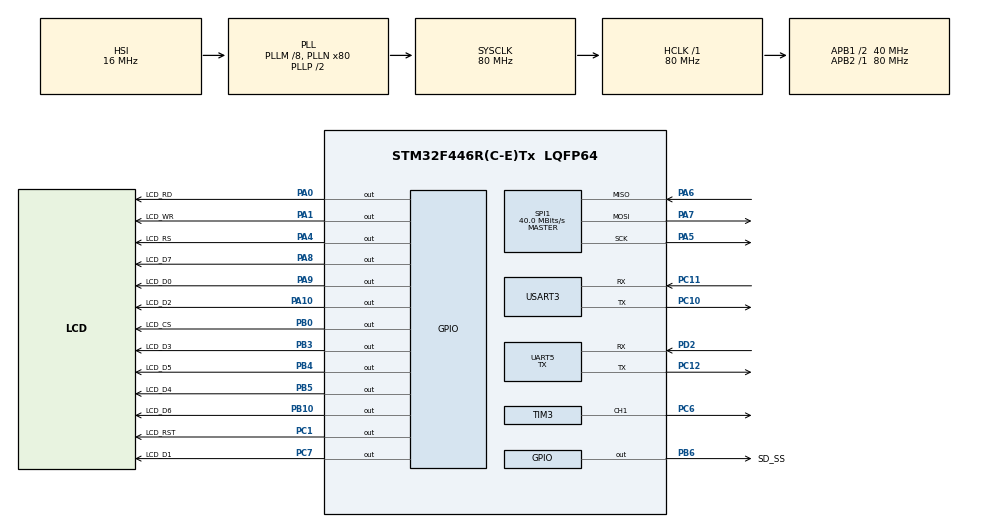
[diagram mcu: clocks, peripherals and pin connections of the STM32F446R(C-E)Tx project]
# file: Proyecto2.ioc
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FATFS._MAX_SS=4096
FATFS._USE_LFN=1
Mcu.Family=STM32F4
Mcu.Name=STM32F446R(C-E)Tx
Mcu.Package=LQFP64
NVIC.PriorityGroup=NVIC_PRIORITYGROUP_4
NVIC.USART3_IRQn=true\:0\:0\:false\:false\:true\:true\:true\:true
PA0-WKUP.GPIO_Label=LCD_RD
PA0-WKUP.GPIO_Speed=GPIO_SPEED_FREQ_HIGH
PA0-WKUP.Signal=GPIO_Output
PA1.GPIO_Label=LCD_WR
PA1.GPIO_Speed=GPIO_SPEED_FREQ_HIGH
PA1.Signal=GPIO_Output
PA10.GPIO_Label=LCD_D2
PA10.GPIO_Speed=GPIO_SPEED_FREQ_HIGH
PA10.Signal=GPIO_Output
PA13.Mode=Serial_Wire
PA13.Signal=SYS_JTMS-SWDIO
PA14.Mode=Serial_Wire
PA14.Signal=SYS_JTCK-SWCLK
PA4.GPIO_Label=LCD_RS
PA4.GPIO_Speed=GPIO_SPEED_FREQ_HIGH
PA4.Signal=GPIO_Output
PA5.Mode=Full_Duplex_Master
PA5.Signal=SPI1_SCK
PA6.Mode=Full_Duplex_Master
PA6.Signal=SPI1_MISO
PA7.Mode=Full_Duplex_Master
PA7.Signal=SPI1_MOSI
PA8.GPIO_Label=LCD_D7
PA8.GPIO_Speed=GPIO_SPEED_FREQ_HIGH
PA8.Signal=GPIO_Output
PA9.GPIO_Label=LCD_D0
PA9.GPIO_Speed=GPIO_SPEED_FREQ_HIGH
PA9.Signal=GPIO_Output
PB0.GPIO_Label=LCD_CS
PB0.GPIO_Speed=GPIO_SPEED_FREQ_HIGH
PB0.Signal=GPIO_Output
PB10.GPIO_Label=LCD_D6
PB10.GPIO_Speed=GPIO_SPEED_FREQ_HIGH
PB10.Signal=GPIO_Output
PB3.GPIO_Label=LCD_D3
PB3.GPIO_Speed=GPIO_SPEED_FREQ_HIGH
PB3.Signal=GPIO_Output
PB4.GPIO_Label=LCD_D5
PB4.GPIO_Speed=GPIO_SPEED_FREQ_HIGH
PB4.Signal=GPIO_Output
PB5.GPIO_Label=LCD_D4
PB5.GPIO_Speed=GPIO_SPEED_FREQ_HIGH
PB5.Signal=GPIO_Output
PB6.GPIO_Label=SD_SS
PB6.GPIO_Speed=GPIO_SPEED_FREQ_HIGH
PB6.PinState=GPIO_PIN_SET
PB6.Signal=GPIO_Output
PC1.GPIO_Label=LCD_RST
PC1.GPIO_Speed=GPIO_SPEED_FREQ_HIGH
PC1.Signal=GPIO_Output
PC10.Mode=Asynchronous
PC10.Signal=USART3_TX
PC11.Mode=Asynchronous
PC11.Signal=USART3_RX
PC12.Mode=Asynchronous
PC12.Signal=UART5_TX
PC6.Signal=S_TIM3_CH1
PC7.GPIO_Label=LCD_D1
PC7.GPIO_Speed=GPIO_SPEED_FREQ_HIGH
PC7.Signal=GPIO_Output
PD2.Mode=Asynchronous
PD2.Signal=UART5_RX
PH0-OSC_IN.Mode=HSE-External-Oscillator
PH0-OSC_IN.Signal=RCC_OSC_IN
PH1-OSC_OUT.Mode=HSE-External-Oscillator
PH1-OSC_OUT.Signal=RCC_OSC_OUT
ProjectManager.HeapSize=0x200
ProjectManager.StackSize=0x400
ProjectManager.TargetToolchain=STM32CubeIDE
RCC.AHBFreq_Value=80000000
RCC.APB1CLKDivider=RCC_HCLK_DIV2
RCC.APB1Freq_Value=40000000
RCC.APB1TimFreq_Value=80000000
RCC.APB2Freq_Value=80000000
RCC.APB2TimFreq_Value=80000000
RCC.CortexFreq_Value=80000000
RCC.HCLKFreq_Value=80000000
RCC.PLLM=8
RCC.PLLN=80
RCC.SYSCLKFreq_VALUE=80000000
RCC.SYSCLKSource=RCC_SYSCLKSOURCE_PLLCLK
RCC.USBFreq_Value=80000000
RCC.VCOOutputFreq_Value=160000000
SH.S_TIM3_CH1.0=TIM3_CH1,PWM Generation1 CH1
SPI1.CalculateBaudRate=40.0 MBits/s
SPI1.Direction=SPI_DIRECTION_2LINES
SPI1.Mode=SPI_MODE_MASTER
SPI1.VirtualType=VM_MASTER
TIM3.AutoReloadPreload=TIM_AUTORELOAD_PRELOAD_ENABLE
TIM3.Channel-PWM\ Generation1\ CH1=TIM_CHANNEL_1
TIM3.Prescaler=79
UART5.Mode=MODE_TX
UART5.VirtualMode=Asynchronous
USART3.VirtualMode=VM_ASYNC
VP_FATFS_VS_Generic.Mode=User_defined
VP_TIM3_VS_ClockSourceINT.Mode=Internal
board=custom

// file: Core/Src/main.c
/* USER CODE BEGIN Header */
/**
 ******************************************************************************
 * @file           : main.c
 * @brief          : Main program body
 ******************************************************************************
 * @attention
 *
 * Copyright (c) 2024 STMicroelectronics.
 * All rights reserved.
 *
 * This software is licensed under terms that can be found in the LICENSE file
 * in the root directory of this software component.
 * If no LICENSE file comes with this software, it is provided AS-IS.
 *
 ******************************************************************************
 */
/* USER CODE END Header */
#include "main.h"
#include "fatfs.h"

/* USER CODE BEGIN Includes */
#include "ili9341.h"
#include "gfx.h"
#include "screens.h"
#include "controller.h"
#include "padtest.h"
#include "sound.h"
#include "game.h"
#include "storage.h"
#include "sprites.h"
/* USER CODE END Includes */

/* USER CODE BEGIN PTD */
typedef enum { ST_MENU, ST_PLAY, ST_WIN, ST_OVER, ST_PADTEST, ST_GALLERY, ST_RECORDS, ST_CREDITS } GameState;
/* USER CODE END PTD */

/* USER CODE BEGIN PD */
#define PADTEST_AL_INICIO  0     /* 1 = arranca en la pantalla de prueba del mando */
/* USER CODE END PD */

SPI_HandleTypeDef hspi1;

TIM_HandleTypeDef htim3;

UART_HandleTypeDef huart5;
UART_HandleTypeDef huart3;

void SystemClock_Config(void);
static void MX_GPIO_Init(void);
static void MX_SPI1_Init(void);
static void MX_USART3_UART_Init(void);
static void MX_TIM3_Init(void);
static void MX_UART5_Init(void);

/* USER CODE BEGIN 0 */
static uint8_t btn_poll(void)
{
    static uint8_t down = 0;
    static uint32_t t0 = 0;
    uint8_t pressed = (HAL_GPIO_ReadPin(GPIOC, GPIO_PIN_13) == GPIO_PIN_RESET);

    if (pressed && !down) { down = 1; t0 = HAL_GetTick(); }
    else if (!pressed && down) {
        down = 0;
        uint32_t dt = HAL_GetTick() - t0;
        if (dt < 30) return 0;                 // antirrebote
        return (dt >= 500) ? 2 : 1;
    }
    return 0;
}

/* Muestra el menu con su musica */
static void go_menu(uint8_t sel, uint8_t level)
{
    screens_menu_full(sel, level);
    sound_music(MUS_TITLE);
}
/* USER CODE END 0 */

int main(void)
{

  /* MCU Configuration--------------------------------------------------------*/

  /* Reset of all peripherals, Initializes the Flash interface and the Systick. */
  HAL_Init();

  /* Configure the system clock */
  SystemClock_Config();

  /* Initialize all configured peripherals */
  MX_GPIO_Init();
  MX_SPI1_Init();
  MX_USART3_UART_Init();
  MX_TIM3_Init();
  MX_FATFS_Init();
  MX_UART5_Init();
  /* USER CODE BEGIN 2 */
  LCD_Init();
  pad_init();                    // empieza a recibir el mando por USART3
  sound_init();                  // buzzer pasivo en PC6 (TIM3_CH1)

  GameState state = ST_MENU;
  uint8_t  sel = 0;              // opcion del menu
  uint8_t  level = 1;            // nivel elegido
  uint8_t  pend = 0;             // evento pendiente de B1 (1 corto, 2 largo)
  uint8_t  pend_btn = 0;         // botones del mando presionados y sin atender
  uint16_t best[NUM_LEVELS] = {0};   // records (en RAM; luego se guardan en la SD)
  uint32_t last_status = 0;
  uint32_t last_draw = 0;
  uint32_t last_frame = 0;

  GameStats stats = {0};             // partidas, victorias, derrotas (STATS.TXT)
  static char creditos[480];         // texto de CREDITOS.TXT
  uint8_t creditos_ok = 0;

  /* Carga de la SD: graficos, portada, fondo, niveles, records y estadisticas */
  LCD_Clear(0x0000);
  LCD_Print("CARGANDO SD...", 104, 112, 1, 0xFFFF, 0x0000);
  storage_init();
  if (!storage_load_sprites()) {     // graficos: SD -> RAM
    sprites_from_flash();            // respaldo (si SPRITES_EN_FLASH = 1)
#if !SPRITES_EN_FLASH
    LCD_Print("INSERTA LA MEMORIA SD", 76, 140, 1, 0xF800, 0x0000);
    LCD_Print("(LOS GRAFICOS ESTAN AHI)", 64, 156, 1, 0xF800, 0x0000);
    HAL_Delay(3000);
#endif
  }
  storage_load_records(best, NUM_LEVELS);
  storage_load_stats(&stats);
  creditos_ok = (uint8_t)storage_load_text("CREDITOS.TXT", creditos, sizeof(creditos));

  /* Portada (imagen de 320x240 leida de la SD): 3 s o hasta presionar un boton */
  if (storage_show_image("PORTADA.BIN")) {
    uint32_t t0 = HAL_GetTick();
    while (HAL_GetTick() - t0 < 3000) {
      pad_poll();
      if (btn_poll() || pad_take_presses()) break;
    }
  }

#if PADTEST_AL_INICIO
  state = ST_PADTEST;
  padtest_full();
#else
  go_menu(sel, level);
#endif
  /* USER CODE END 2 */

  /* Infinite loop */
	while (1) {

    /* USER CODE BEGIN 3 */
		sound_update();                                 // avanza la musica / efectos (no bloquea)

		uint8_t ev = btn_poll();                        // boton B1 de la Nucleo
		if (ev) pend = ev;

		pad_poll();                                     // procesa lo que llego del mando
		pend_btn |= pad_take_presses();                 // se acumulan hasta que se atienden
		const PadState *pad = pad_get();

		/* Estado del juego al mando cada 100 ms (fase y poder disponible) */
		if (HAL_GetTick() - last_status >= 100) {
		    last_status = HAL_GetTick();
		    uint8_t st = 0, fl = 0;
		    if (state == ST_PLAY)         { st = game_status_state(); fl = game_status_flags(); }
		    else if (state == ST_WIN)     st = 4;
		    else if (state == ST_OVER)    st = 5;
		    else if (state == ST_PADTEST) fl = (pad->btn & PAD_BTN_POWER) ? 1 : 0;
		    pad_send_status(st, fl);
		}

		switch (state) {

		/* ---------------- Menu ---------------- */
		case ST_MENU: {
		    int8_t nav = pad_nav_y();                   // joystick / cruceta arriba-abajo
		    uint8_t old = sel;
		    if (nav != 0)       sel = (sel + MENU_ITEMS + nav) % MENU_ITEMS;
		    else if (pend == 1) sel = (sel + 1) % MENU_ITEMS;   // B1 corto: siguiente opcion
		    if (sel != old) { screens_menu_select(old, sel); sound_sfx(SFX_MOVE); }

		    if (pend_btn & PAD_BTN_MENU) {              // clic / Start: prueba del mando
		        sound_music(MUS_NONE);
		        padtest_full();
		        state = ST_PADTEST;
		    } else if (pend_btn & PAD_BTN_POWER) {      // PODER: galeria de personajes
		        sound_sfx(SFX_OK);
		        screens_gallery();
		        state = ST_GALLERY;
		    } else if (pend == 2 || (pend_btn & PAD_BTN_FIRE)) {   // B1 largo o DISPARO: aceptar
		        sound_sfx(SFX_OK);
		        if (sel == 0) {                         // JUGAR
		            game_start(level);
		            sound_music(MUS_LEVEL);
		            last_frame = HAL_GetTick();
		            state = ST_PLAY;
		        } else if (sel == 1) {                  // cambiar de NIVEL
		            level = (level % NUM_LEVELS) + 1;
		            screens_menu_level(level, sel);
		        } else if (sel == 2) {                  // RECORDS
		            screens_records(best, stats.partidas, stats.victorias, stats.derrotas);
		            state = ST_RECORDS;
		        } else {                                // CREDITOS
		            screens_credits(creditos_ok ? creditos : NULL);
		            state = ST_CREDITS;
		        }
		    }
		    pend = 0; pend_btn = 0;
		    break;
		}

		/* ---------------- Jugando ---------------- */
		case ST_PLAY:
		    if (HAL_GetTick() - last_frame >= GAME_FRAME_MS) {   // ~30 cuadros por segundo
		        last_frame = HAL_GetTick();
		        GameInput gi = {
		            pad->jx, pad->jy, pad->connected, pend,
		            (uint8_t)((pend_btn & PAD_BTN_FIRE)  != 0),
		            (uint8_t)((pend_btn & PAD_BTN_POWER) != 0),
		            (uint8_t)((pend_btn & PAD_BTN_MENU)  != 0)
		        };
		        pend = 0; pend_btn = 0;

		        GameResult r = game_update(&gi);
		        if (r == GAME_WIN) {
		            uint16_t sc = game_score();
		            uint8_t rec = (sc > best[level - 1]);
		            if (rec) {
		                best[level - 1] = sc;
		                storage_save_records(best, NUM_LEVELS);   // se guarda en la SD
		            }
		            screens_win(game_stars(), sc, rec);
		            sound_music(MUS_WIN);
		            stats.partidas++; stats.victorias++; stats.puntos += sc;
		            storage_save_stats(&stats);             // STATS.TXT en la SD
		            state = ST_WIN;
		        } else if (r == GAME_LOSE) {
		            screens_gameover(game_score());
		            sound_music(MUS_LOSE);
		            stats.partidas++; stats.derrotas++; stats.puntos += game_score();
		            storage_save_stats(&stats);
		            state = ST_OVER;
		        } else if (r == GAME_QUIT) {
		            go_menu(sel, level);
		            state = ST_MENU;
		        }
		    }
		    break;

		/* ---------------- Fin de nivel ---------------- */
		case ST_WIN:
		case ST_OVER:
		    if (pend || (pend_btn & (PAD_BTN_FIRE | PAD_BTN_MENU))) {
		        if (state == ST_WIN) level = (level % NUM_LEVELS) + 1;   // siguiente nivel
		        go_menu(sel, level);
		        state = ST_MENU;
		    }
		    pend = 0; pend_btn = 0;
		    break;

		/* ---------------- Records, creditos y galeria ---------------- */
		case ST_RECORDS:
		case ST_CREDITS:
		case ST_GALLERY:
		    if (pend || (pend_btn & (PAD_BTN_MENU | PAD_BTN_FIRE))) {
		        go_menu(sel, level);
		        state = ST_MENU;
		    }
		    pend = 0; pend_btn = 0;
		    break;

		/* ---------------- Prueba del mando ---------------- */
		case ST_PADTEST:
		    /* prueba del sonido desde el mando: cada boton toca un efecto */
		    if (pend_btn & PAD_BTN_FIRE)  sound_sfx(SFX_LAUNCH);
		    if (pend_btn & PAD_BTN_POWER) sound_sfx(SFX_BOOM);
		    if (pend == 1)                sound_sfx(SFX_PIG);

		    if (pend == 2 || (pend_btn & PAD_BTN_MENU)) {   // B1 largo o clic: volver al menu
		        go_menu(sel, level);
		        state = ST_MENU;
		    } else if (HAL_GetTick() - last_draw >= 40) {   // ~25 refrescos por segundo
		        last_draw = HAL_GetTick();
		        padtest_update(pad);
		    }
		    pend = 0; pend_btn = 0;
		    break;
		}
	}                                                   // <- cierra el while(1)
  /* USER CODE END 3 */
}

void SystemClock_Config(void)
{
  RCC_OscInitTypeDef RCC_OscInitStruct = {0};
  RCC_ClkInitTypeDef RCC_ClkInitStruct = {0};

  /** Configure the main internal regulator output voltage
  */
  __HAL_RCC_PWR_CLK_ENABLE();
  __HAL_PWR_VOLTAGESCALING_CONFIG(PWR_REGULATOR_VOLTAGE_SCALE3);

  /** Initializes the RCC Oscillators according to the specified parameters
  * in the RCC_OscInitTypeDef structure.
  */
  RCC_OscInitStruct.OscillatorType = RCC_OSCILLATORTYPE_HSI;
  RCC_OscInitStruct.HSIState = RCC_HSI_ON;
  RCC_OscInitStruct.HSICalibrationValue = RCC_HSICALIBRATION_DEFAULT;
  RCC_OscInitStruct.PLL.PLLState = RCC_PLL_ON;
  RCC_OscInitStruct.PLL.PLLSource = RCC_PLLSOURCE_HSI;
  RCC_OscInitStruct.PLL.PLLM = 8;
  RCC_OscInitStruct.PLL.PLLN = 80;
  RCC_OscInitStruct.PLL.PLLP = RCC_PLLP_DIV2;
  RCC_OscInitStruct.PLL.PLLQ = 2;
  RCC_OscInitStruct.PLL.PLLR = 2;
  if (HAL_RCC_OscConfig(&RCC_OscInitStruct) != HAL_OK)
  {
    Error_Handler();
  }

  /** Initializes the CPU, AHB and APB buses clocks
  */
  RCC_ClkInitStruct.ClockType = RCC_CLOCKTYPE_HCLK|RCC_CLOCKTYPE_SYSCLK
                              |RCC_CLOCKTYPE_PCLK1|RCC_CLOCKTYPE_PCLK2;
  RCC_ClkInitStruct.SYSCLKSource = RCC_SYSCLKSOURCE_PLLCLK;
  RCC_ClkInitStruct.AHBCLKDivider = RCC_SYSCLK_DIV1;
  RCC_ClkInitStruct.APB1CLKDivider = RCC_HCLK_DIV2;
  RCC_ClkInitStruct.APB2CLKDivider = RCC_HCLK_DIV1;

  if (HAL_RCC_ClockConfig(&RCC_ClkInitStruct, FLASH_LATENCY_2) != HAL_OK)
  {
    Error_Handler();
  }
}

static void MX_SPI1_Init(void)
{

  /* SPI1 parameter configuration*/
  hspi1.Instance = SPI1;
  hspi1.Init.Mode = SPI_MODE_MASTER;
  hspi1.Init.Direction = SPI_DIRECTION_2LINES;
  hspi1.Init.DataSize = SPI_DATASIZE_8BIT;
  hspi1.Init.CLKPolarity = SPI_POLARITY_LOW;
  hspi1.Init.CLKPhase = SPI_PHASE_1EDGE;
  hspi1.Init.NSS = SPI_NSS_SOFT;
  hspi1.Init.BaudRatePrescaler = SPI_BAUDRATEPRESCALER_2;
  hspi1.Init.FirstBit = SPI_FIRSTBIT_MSB;
  hspi1.Init.TIMode = SPI_TIMODE_DISABLE;
  hspi1.Init.CRCCalculation = SPI_CRCCALCULATION_DISABLE;
  hspi1.Init.CRCPolynomial = 10;
  if (HAL_SPI_Init(&hspi1) != HAL_OK)
  {
    Error_Handler();
  }

}

static void MX_TIM3_Init(void)
{

  TIM_ClockConfigTypeDef sClockSourceConfig = {0};
  TIM_MasterConfigTypeDef sMasterConfig = {0};
  TIM_OC_InitTypeDef sConfigOC = {0};

  htim3.Instance = TIM3;
  htim3.Init.Prescaler = 79;
  htim3.Init.CounterMode = TIM_COUNTERMODE_UP;
  htim3.Init.Period = 65535;
  htim3.Init.ClockDivision = TIM_CLOCKDIVISION_DIV1;
  htim3.Init.AutoReloadPreload = TIM_AUTORELOAD_PRELOAD_ENABLE;
  if (HAL_TIM_Base_Init(&htim3) != HAL_OK)
  {
    Error_Handler();
  }
  sClockSourceConfig.ClockSource = TIM_CLOCKSOURCE_INTERNAL;
  if (HAL_TIM_ConfigClockSource(&htim3, &sClockSourceConfig) != HAL_OK)
  {
    Error_Handler();
  }
  if (HAL_TIM_PWM_Init(&htim3) != HAL_OK)
  {
    Error_Handler();
  }
  sMasterConfig.MasterOutputTrigger = TIM_TRGO_RESET;
  sMasterConfig.MasterSlaveMode = TIM_MASTERSLAVEMODE_DISABLE;
  if (HAL_TIMEx_MasterConfigSynchronization(&htim3, &sMasterConfig) != HAL_OK)
  {
    Error_Handler();
  }
  sConfigOC.OCMode = TIM_OCMODE_PWM1;
  sConfigOC.Pulse = 0;
  sConfigOC.OCPolarity = TIM_OCPOLARITY_HIGH;
  sConfigOC.OCFastMode = TIM_OCFAST_DISABLE;
  if (HAL_TIM_PWM_ConfigChannel(&htim3, &sConfigOC, TIM_CHANNEL_1) != HAL_OK)
  {
    Error_Handler();
  }
  HAL_TIM_MspPostInit(&htim3);

}

static void MX_UART5_Init(void)
{

  huart5.Instance = UART5;
  huart5.Init.BaudRate = 115200;
  huart5.Init.WordLength = UART_WORDLENGTH_8B;
  huart5.Init.StopBits = UART_STOPBITS_1;
  huart5.Init.Parity = UART_PARITY_NONE;
  huart5.Init.Mode = UART_MODE_TX;
  huart5.Init.HwFlowCtl = UART_HWCONTROL_NONE;
  huart5.Init.OverSampling = UART_OVERSAMPLING_16;
  if (HAL_UART_Init(&huart5) != HAL_OK)
  {
    Error_Handler();
  }

}

static void MX_USART3_UART_Init(void)
{

  huart3.Instance = USART3;
  huart3.Init.BaudRate = 115200;
  huart3.Init.WordLength = UART_WORDLENGTH_8B;
  huart3.Init.StopBits = UART_STOPBITS_1;
  huart3.Init.Parity = UART_PARITY_NONE;
  huart3.Init.Mode = UART_MODE_TX_RX;
  huart3.Init.HwFlowCtl = UART_HWCONTROL_NONE;
  huart3.Init.OverSampling = UART_OVERSAMPLING_16;
  if (HAL_UART_Init(&huart3) != HAL_OK)
  {
    Error_Handler();
  }

}

static void MX_GPIO_Init(void)
{
  GPIO_InitTypeDef GPIO_InitStruct = {0};

  /* GPIO Ports Clock Enable */
  __HAL_RCC_GPIOH_CLK_ENABLE();
  __HAL_RCC_GPIOC_CLK_ENABLE();
  __HAL_RCC_GPIOA_CLK_ENABLE();
  __HAL_RCC_GPIOB_CLK_ENABLE();
  __HAL_RCC_GPIOD_CLK_ENABLE();

  /*Configure GPIO pin Output Level */
  HAL_GPIO_WritePin(GPIOC, LCD_RST_Pin|LCD_D1_Pin, GPIO_PIN_RESET);

  /*Configure GPIO pin Output Level */
  HAL_GPIO_WritePin(GPIOA, LCD_RD_Pin|LCD_WR_Pin|LCD_RS_Pin|LCD_D7_Pin
                          |LCD_D0_Pin|LCD_D2_Pin, GPIO_PIN_RESET);

  /*Configure GPIO pin Output Level */
  HAL_GPIO_WritePin(GPIOB, LCD_CS_Pin|LCD_D6_Pin|LCD_D3_Pin|LCD_D5_Pin
                          |LCD_D4_Pin, GPIO_PIN_RESET);

  /*Configure GPIO pin Output Level */
  HAL_GPIO_WritePin(SD_SS_GPIO_Port, SD_SS_Pin, GPIO_PIN_SET);

  /*Configure GPIO pins : LCD_RST_Pin LCD_D1_Pin */
  GPIO_InitStruct.Pin = LCD_RST_Pin|LCD_D1_Pin;
  GPIO_InitStruct.Mode = GPIO_MODE_OUTPUT_PP;
  GPIO_InitStruct.Pull = GPIO_NOPULL;
  GPIO_InitStruct.Speed = GPIO_SPEED_FREQ_HIGH;
  HAL_GPIO_Init(GPIOC, &GPIO_InitStruct);

  /*Configure GPIO pins : LCD_RD_Pin LCD_WR_Pin LCD_RS_Pin LCD_D7_Pin
                           LCD_D0_Pin LCD_D2_Pin */
  GPIO_InitStruct.Pin = LCD_RD_Pin|LCD_WR_Pin|LCD_RS_Pin|LCD_D7_Pin
                          |LCD_D0_Pin|LCD_D2_Pin;
  GPIO_InitStruct.Mode = GPIO_MODE_OUTPUT_PP;
  GPIO_InitStruct.Pull = GPIO_NOPULL;
  GPIO_InitStruct.Speed = GPIO_SPEED_FREQ_HIGH;
  HAL_GPIO_Init(GPIOA, &GPIO_InitStruct);

  /*Configure GPIO pins : LCD_CS_Pin LCD_D6_Pin LCD_D3_Pin LCD_D5_Pin
                           LCD_D4_Pin SD_SS_Pin */
  GPIO_InitStruct.Pin = LCD_CS_Pin|LCD_D6_Pin|LCD_D3_Pin|LCD_D5_Pin
                          |LCD_D4_Pin|SD_SS_Pin;
  GPIO_InitStruct.Mode = GPIO_MODE_OUTPUT_PP;
  GPIO_InitStruct.Pull = GPIO_NOPULL;
  GPIO_InitStruct.Speed = GPIO_SPEED_FREQ_HIGH;
  HAL_GPIO_Init(GPIOB, &GPIO_InitStruct);

}

void Error_Handler(void)
{
	__disable_irq();
	while (1) {
	}
}
